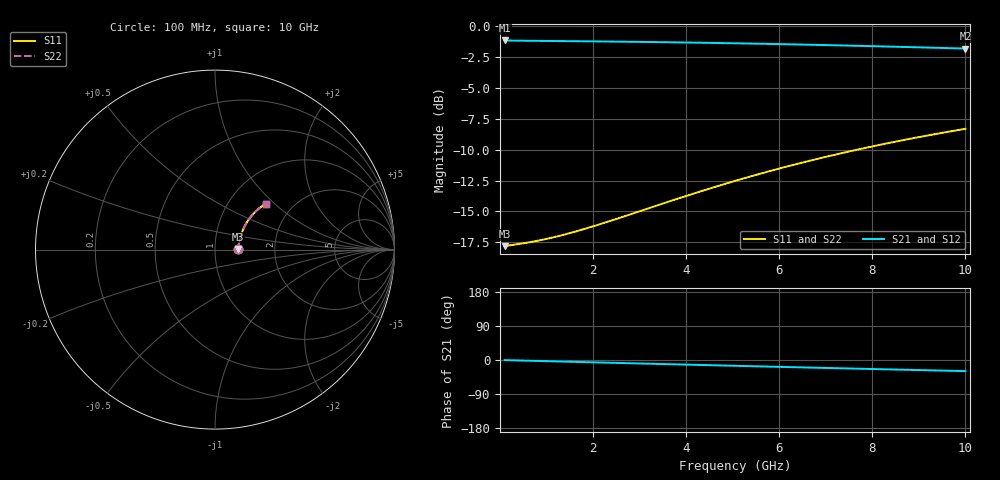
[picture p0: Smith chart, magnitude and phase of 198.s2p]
# Hz S RI R 50.00
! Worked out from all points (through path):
!   100 points, 100 MHz to 10 GHz, reference 50 ohm
!   highest |S21| = -1.20 dB at 100 MHz (marker M1); lowest = -1.9 dB at 10 GHz (marker M2)
!   group delay of S21, straight-line fit = 8.16 ps
!   lowest |S11| = -17.8 dB at 100 MHz (marker M3), VSWR 1.30, Z = 64.8 + j0.436 ohm
!   |S11| at or under -10 dB: start of sweep to 7.69 GHz
!   |S22| runs from -17.8 to -8.3 dB; largest |S21 - S12| = 0
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1e8  0.1288 0.00331  0.8712 -0.00469  0.8712 -0.00469  0.1288 0.00331
6e8  0.1318 0.0197  0.8682 -0.028  0.8682 -0.028  0.1318 0.0197
8e8  0.1328 0.0262  0.8671 -0.0373  0.8671 -0.0373  0.1328 0.0262
1e9  0.1339 0.0327  0.866 -0.0465  0.866 -0.0465  0.1339 0.0327
1.2e9  0.1351 0.0392  0.8648 -0.0557  0.8648 -0.0557  0.1351 0.0392
1.4e9  0.1363 0.0456  0.8635 -0.0649  0.8635 -0.0649  0.1363 0.0456
1.8e9  0.1391 0.0584  0.8605 -0.0832  0.8605 -0.0832  0.1391 0.0584
2.4e9  0.1442 0.0772  0.8552 -0.1103  0.8552 -0.1103  0.1442 0.0772
3.4e9  0.155 0.1076  0.8438 -0.1545  0.8438 -0.1545  0.155 0.1076
4.3e9  0.1671 0.1336  0.8309 -0.193  0.8309 -0.193  0.1671 0.1336
4.7e9  0.1732 0.1447  0.8245 -0.2096  0.8245 -0.2096  0.1732 0.1447
5.1e9  0.1798 0.1555  0.8176 -0.226  0.8176 -0.226  0.1798 0.1555
5.5e9  0.1867 0.1659  0.8102 -0.2419  0.8102 -0.2419  0.1867 0.1659
5.9e9  0.194 0.176  0.8025 -0.2576  0.8025 -0.2576  0.194 0.176
6.3e9  0.2016 0.1857  0.7943 -0.2728  0.7943 -0.2728  0.2016 0.1857
6.7e9  0.2096 0.195  0.7858 -0.2877  0.7858 -0.2877  0.2096 0.195
7.1e9  0.2179 0.204  0.777 -0.3022  0.777 -0.3022  0.2179 0.204
7.5e9  0.2264 0.2125  0.7678 -0.3163  0.7678 -0.3163  0.2264 0.2125
7.9e9  0.2353 0.2206  0.7583 -0.3301  0.7583 -0.3301  0.2353 0.2206
8.4e9  0.2466 0.2301  0.7461 -0.3466  0.7461 -0.3466  0.2466 0.2301
9.2e9  0.2655 0.244  0.7257 -0.3717  0.7257 -0.3717  0.2655 0.244
1e10  0.2851 0.2562  0.7046 -0.3952  0.7046 -0.3952  0.2851 0.2562
